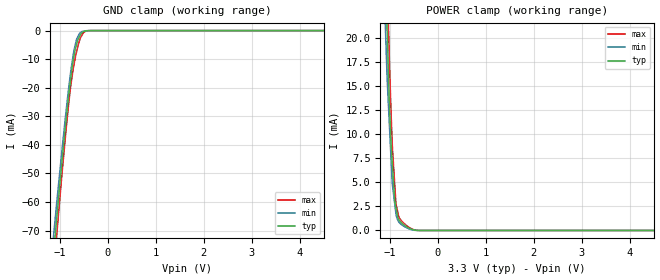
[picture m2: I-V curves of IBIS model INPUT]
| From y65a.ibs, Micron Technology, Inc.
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|   MODEL INPUT
[Model]   INPUT
Model_type   Input
Vinl = 800.000mV
Vinh = 2.000V
|   typ   min   max
C_comp   2.245pF   2.145pF   2.345pF
[Voltage Range]   3.300V   3.000V   3.600V
| Junction Temperature (Case temp is 35C typ, 70C min, 0C max)
[Temperature Range]   50.0   85.0   0.0
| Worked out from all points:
|   GND clamp passes 1 mA (typ) near -0.55 V on its own axis
|   POWER clamp passes 1 mA (typ) near -0.80 V on its own axis
[GND Clamp]
|   Voltage   I(typ)   I(min)   I(max)
-3.3V     -516.4mA   -478.7mA   -557.7mA
-1.19V    -88.9mA    -81.99mA   -96.36mA
-1.06V    -64.7mA    -59.32mA   -70.5mA
-870mV    -31.24mA   -28.06mA   -34.59mA
-795mV    -19.65mA   -17.17mA   -22.4mA
-745mV    -12.87mA   -11.12mA   -16.04mA
-710mV    -9.314mA   -7.241mA   -12.22mA
-650mV    -4.636mA   -2.99mA    -7.283mA
-570mV    -1.31mA    -751.2uA   -2.507mA
-535mV    -694.1uA   -307.4uA   -1.464mA
-345mV    -4.083uA   -2.283uA   -5.177uA
6.6V      0A         0A         0A
[POWER Clamp]
|   Voltage   I(typ)   I(min)   I(max)
-3.3V     453.3mA    413.4mA    503.1mA
-1.19V    42.79mA    35.33mA    51.19mA
-1.06V    21.29mA    16.19mA    26.95mA
-1.055V   20.46mA    15.57mA    26.02mA
-1.02V    14.67mA    11.99mA    19.49mA
-975mV    9.001mA    7.393mA    12.23mA
-950mV    6.963mA    4.854mA    8.928mA
-895mV    2.913mA    2.61mA     4.468mA
-870mV    2.276mA    1.589mA    2.667mA
-810mV    1.077mA    853.8uA    1.374mA
-595mV    234uA      156.2uA    306.3uA
6.6V      0A         0A         0A
